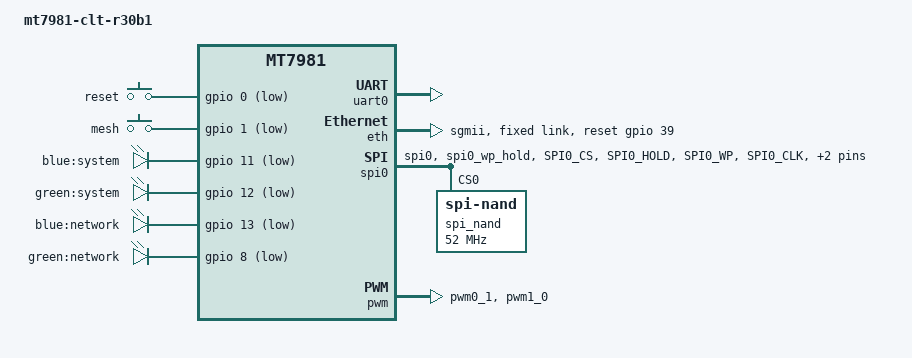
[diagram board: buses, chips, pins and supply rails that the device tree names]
// SPDX-License-Identifier: GPL-2.0

/dts-v1/;
#include "mt7981.dtsi"
#include <dt-bindings/gpio/gpio.h>

/ {
	#address-cells = <1>;
	#size-cells = <1>;
	model = "mt7981-clt-r30b1";
	compatible = "mediatek,mt7981", "mediatek,mt7981-rfb";

	chosen {
		stdout-path = &uart0;
		tick-timer = &timer0;
	};

	config {
		bootcmd = "mtkboardboot";
		blink_led = "green:network";
		system_led = "blue:system";
	};

	mtd-layout {
		layout@0 {
			label = "default";
			// mtd layout for clt_r30b1 stock ubi or openwrt-stock/immortalwrt-stock firmware
			mtdids = "nmbm0=nmbm0";
			mtdparts = "nmbm0:1024k(BL2),512k(u-boot-env),2048k(Factory),2048k(FIP),64M(ubi),32M(data)";
		};

		layout@1 {
			label = "immortalwrt-112m";
			// mtd layout for immortalwrt/openwrt 112M ubi firmware
			mtdids = "nmbm0=nmbm0";
			mtdparts = "nmbm0:1024k(BL2),512k(u-boot-env),2048k(Factory),2048k(FIP),112M(ubi)";
		};

		layout@2 {
			label = "qwrt";
			// mtd layout for lean qwrt
			mtdids = "nmbm0=nmbm0";
			mtdparts = "nmbm0:1024k(BL2),512k(u-boot-env),2048k(Factory),2048k(FIP),1024k(rsv0),110M(ubi)";
		};
	};

	gpio-keys {
		compatible = "gpio-keys";

		reset-button {
			label = "reset";
			gpios = <&gpio 0 GPIO_ACTIVE_LOW>;
		};

		mesh-button {
			label = "mesh";
			gpios = <&gpio 1 GPIO_ACTIVE_LOW>;
		};
	};

	leds {
		compatible = "gpio-leds";

		led@0 {
			label = "blue:system";
			gpios = <&gpio 11 GPIO_ACTIVE_LOW>;
		};

		led@1 {
			label = "green:system";
			gpios = <&gpio 12 GPIO_ACTIVE_LOW>;
		};

		led@2 {
			label = "blue:network";
			gpios = <&gpio 13 GPIO_ACTIVE_LOW>;
		};

		led@3 {
			label = "green:network";
			gpios = <&gpio 8 GPIO_ACTIVE_LOW>;
		};
	};
};

&uart0 {
	status = "okay";
};

&uart1 {
	pinctrl-names = "default";
	pinctrl-0 = <&uart1_pins>;
	status = "disabled";
};

&eth {
	status = "okay";
	mediatek,gmac-id = <0>;
	phy-mode = "sgmii";
	mediatek,switch = "mt7531";
	reset-gpios = <&gpio 39 GPIO_ACTIVE_HIGH>;

	fixed-link {
		speed = <1000>;
		full-duplex;
	};
};

&pinctrl {
	spi_flash_pins: spi0-pins-func-1 {
		mux {
			function = "flash";
			groups = "spi0", "spi0_wp_hold";
		};

		conf-pu {
			pins = "SPI0_CS", "SPI0_HOLD", "SPI0_WP";
			drive-strength = <MTK_DRIVE_8mA>;
			bias-pull-up = <MTK_PUPD_SET_R1R0_11>;
		};

		conf-pd {
			pins = "SPI0_CLK", "SPI0_MOSI", "SPI0_MISO";
			drive-strength = <MTK_DRIVE_8mA>;
			bias-pull-down = <MTK_PUPD_SET_R1R0_11>;
		};
	};

	spic_pins: spi1-pins-func-1 {
		mux {
			function = "spi";
			groups = "spi1_1";
		};
	};

	uart1_pins: spi1-pins-func-3 {
		mux {
			function = "uart";
			groups = "uart1_2";
		};
	};

	/* pin15 as pwm0 */
	one_pwm_pins: one-pwm-pins {
		mux {
			function = "pwm";
			groups = "pwm0_1";
		};
	};

	/* pin15 as pwm0 and pin14 as pwm1 */
	two_pwm_pins: two-pwm-pins {
		mux {
			function = "pwm";
			groups = "pwm0_1", "pwm1_0";
		};
	};

	/* pin15 as pwm0, pin14 as pwm1, pin7 as pwm2 */
	three_pwm_pins: three-pwm-pins {
		mux {
			function = "pwm";
			groups = "pwm0_1", "pwm1_0", "pwm2";
		};
	};
};

&spi0 {
	#address-cells = <1>;
	#size-cells = <0>;
	pinctrl-names = "default";
	pinctrl-0 = <&spi_flash_pins>;
	status = "okay";
	must_tx;
	enhance_timing;
	dma_ext;
	ipm_design;
	support_quad;
	tick_dly = <2>;
	sample_sel = <0>;

	spi_nand@0 {
		compatible = "spi-nand";
		reg = <0>;
		spi-max-frequency = <52000000>;
	};
};

&pwm {
	pinctrl-names = "default";
	pinctrl-0 = <&two_pwm_pins>;
	status = "okay";
};

&watchdog {
	status = "disabled";
};
